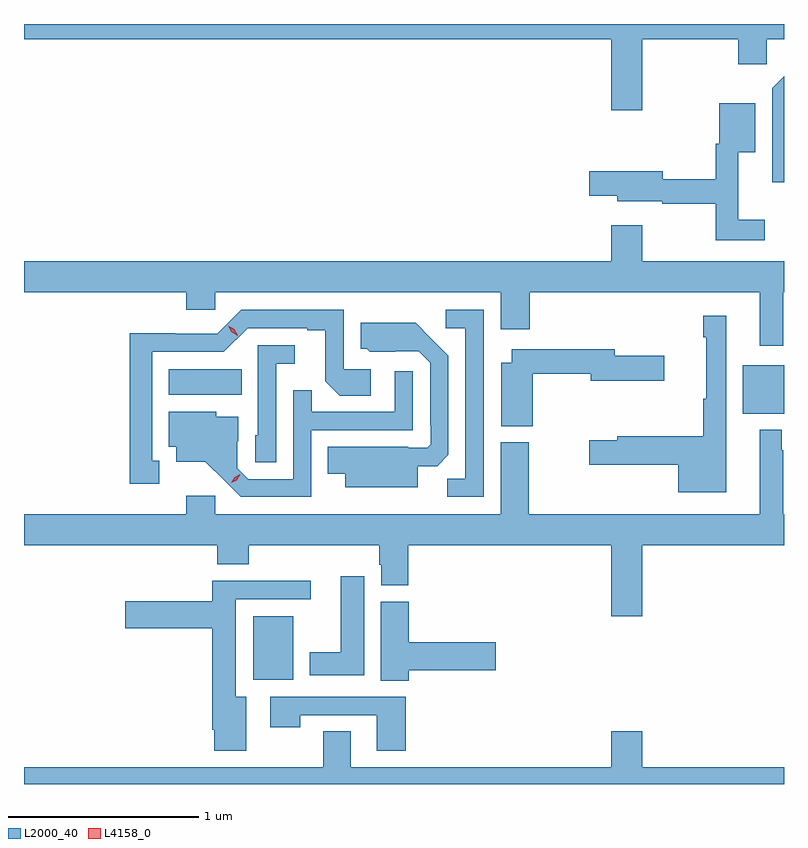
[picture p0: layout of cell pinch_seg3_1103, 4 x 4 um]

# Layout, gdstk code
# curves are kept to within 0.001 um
import gdstk
lib = gdstk.Library(unit=1e-6, precision=1e-09)
def R(c, l, rs):  # rectangles x0, y0, x1, y1
    for r in rs: c.add(gdstk.rectangle(r[:2], r[2:], *l))
def P(c, l, *ps):  # polygons
    for p in ps: c.add(gdstk.Polygon(p, *l))
L2000_40 = (2000, 40)
L4158_0 = (4158, 0)

pinch_seg3_1103 = lib.new_cell('pinch_seg3_1103')
R(pinch_seg3_1103, L2000_40, [(318.968,697.544,319.18,697.879), (321.545,698.945,321.762,699.199), (318.524,699.044,318.908,699.178)])
P(pinch_seg3_1103, L2000_40, [(321.016,700.916),(321.521,700.916),(321.521,700.785),(321.672,700.785),(321.672,700.916),(321.762,700.916),(321.762,700.996),(317.762,700.996),(317.762,700.916),(320.852,700.916),(320.852,700.542),(321.016,700.542)],
  [(321.762,700.722),(321.699,700.659),(321.699,700.164),(321.762,700.164)],
  [(321.661,699.967),(321.521,699.967),(321.521,700.322),(321.61,700.322),(321.61,700.579),(321.422,700.579),(321.422,700.365),(321.403,700.365),(321.403,700.178),(321.124,700.178),(321.124,700.221),(320.736,700.221),(320.736,700.091),(320.885,700.091),(320.885,700.062),(321.12,700.062),(321.12,700.05),(321.403,700.05),(321.403,699.858),(321.661,699.858)],
  [(321.757,699.584),(321.762,699.584),(321.762,699.748),(321.016,699.748),(321.016,699.937),(320.852,699.937),(320.852,699.748),(317.762,699.748),(317.762,699.584),(318.617,699.584),(318.617,699.491),(318.768,699.491),(318.768,699.584),(320.27,699.584),(320.27,699.39),(320.423,699.39),(320.423,699.584),(321.635,699.584),(321.635,699.303),(321.757,699.303)],
  [(320.181,699.492),(319.983,699.492),(319.983,699.396),(320.085,699.396),(320.085,698.603),(319.99,698.603),(319.99,698.508),(320.181,698.508)],
  [(318.475,698.697),(318.436,698.697),(318.436,699.27),(318.813,699.27),(318.939,699.396),(319.253,699.396),(319.253,699.384),(319.347,699.384),(319.347,699.116),(319.423,699.04),(319.588,699.04),(319.588,699.18),(319.446,699.18),(319.446,699.492),(318.906,699.492),(318.78,699.366),(318.558,699.366),(318.558,699.368),(318.318,699.368),(318.318,698.577),(318.475,698.577)],
  [(321.457,699.46),(321.336,699.46),(321.336,699.347),(321.353,699.347),(321.353,699.023),(321.336,699.023),(321.336,698.827),(320.885,698.827),(320.885,698.805),(320.736,698.805),(320.736,698.675),(321.206,698.675),(321.206,698.531),(321.457,698.531)],
  [(319.834,698.669),(319.936,698.669),(319.995,698.728),(319.995,699.25),(319.823,699.424),(319.535,699.424),(319.535,699.288),(319.566,699.288),(319.582,699.272),(319.839,699.273),(319.899,699.213),(319.899,698.884),(319.902,698.884),(319.902,698.784),(319.884,698.766),(319.784,698.766),(319.784,698.77),(319.36,698.77),(319.36,698.63),(319.454,698.63),(319.454,698.558),(319.834,698.558)],
  [(319.089,699.209),(319.186,699.209),(319.186,699.306),(318.993,699.306),(318.993,698.832),(318.978,698.832),(318.978,698.689),(319.089,698.689)],
  [(320.44,699.154),(320.744,699.154),(320.744,699.119),(321.133,699.119),(321.133,699.249),(320.872,699.249),(320.872,699.283),(320.33,699.283),(320.33,699.214),(320.273,699.214),(320.273,698.879),(320.44,698.879)],
  [(319.275,698.859),(319.809,698.859),(319.809,699.169),(319.713,699.169),(319.713,698.955),(319.277,698.955),(319.277,699.068),(319.179,699.068),(319.179,698.601),(318.942,698.601),(318.885,698.658),(318.885,698.8),(318.889,698.8),(318.889,698.929),(318.774,698.929),(318.774,698.956),(318.524,698.956),(318.524,698.772),(318.563,698.772),(318.563,698.693),(318.715,698.693),(318.902,698.508),(319.275,698.508)],
  [(321.016,698.252),(321.762,698.252),(321.762,698.416),(321.757,698.416),(321.757,698.753),(321.749,698.753),(321.749,698.86),(321.635,698.86),(321.635,698.416),(320.418,698.416),(320.418,698.794),(320.27,698.794),(320.27,698.416),(318.768,698.416),(318.768,698.512),(318.617,698.512),(318.617,698.416),(317.762,698.416),(317.762,698.252),(318.779,698.252),(318.779,698.153),(318.944,698.153),(318.944,698.252),(319.631,698.252),(319.631,698.151),(319.643,698.151),(319.643,698.041),(319.784,698.041),(319.784,698.252),(320.852,698.252),(320.852,697.878),(321.016,697.878)],
  [(319.552,698.089),(319.43,698.089),(319.43,697.69),(319.265,697.69),(319.265,697.568),(319.552,697.568)],
  [(318.931,697.456),(318.877,697.456),(318.877,697.968),(319.27,697.968),(319.27,698.066),(318.752,698.066),(318.752,697.959),(318.294,697.959),(318.294,697.817),(318.752,697.817),(318.752,697.282),(318.764,697.282),(318.764,697.17),(318.931,697.17)],
  [(319.787,697.595),(320.245,697.595),(320.245,697.742),(319.787,697.742),(319.787,697.956),(319.64,697.956),(319.64,697.54),(319.787,697.54)],
  [(319.772,697.455),(319.059,697.455),(319.059,697.296),(319.215,697.296),(319.215,697.359),(319.619,697.359),(319.619,697.17),(319.772,697.17)],
  [(321.762,697.084),(321.016,697.084),(321.016,697.273),(320.852,697.273),(320.852,697.084),(319.483,697.084),(319.483,697.274),(319.336,697.274),(319.336,697.084),(317.762,697.084),(317.762,696.996),(321.762,696.996)])
P(pinch_seg3_1103, L4158_0, [(318.852,698.581),(318.852,698.582),(318.87,698.611),(318.901,698.625),(318.901,698.625),(318.901,698.625),(318.883,698.596),(318.852,698.581)],
  [(318.886,699.356),(318.854,699.375),(318.836,699.407),(318.836,699.408),(318.837,699.408),(318.868,699.389),(318.886,699.357),(318.886,699.356)])

lib.write_gds('pinch_seg3_1103.gds')
